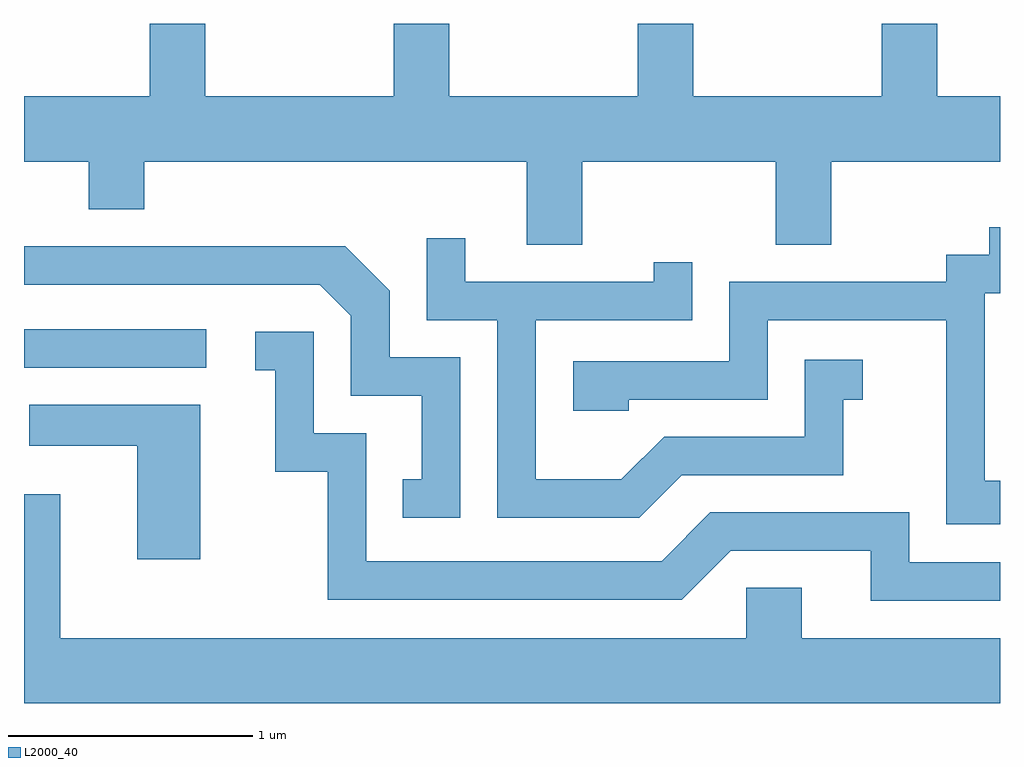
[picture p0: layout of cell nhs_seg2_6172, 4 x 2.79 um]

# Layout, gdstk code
import gdstk
lib = gdstk.Library(unit=1e-6, precision=1e-09)
def R(c, l, rs):  # rectangles x0, y0, x1, y1
    for r in rs: c.add(gdstk.rectangle(r[:2], r[2:], *l))
def P(c, l, *ps):  # polygons
    for p in ps: c.add(gdstk.Polygon(p, *l))
L2000_40 = (2000, 40)

nhs_seg2_6172 = lib.new_cell('nhs_seg2_6172')
R(nhs_seg2_6172, L2000_40, [(367.611,1016.391,368.358,1016.549)])
P(nhs_seg2_6172, L2000_40, [(369.899,1017.236),(370.691,1017.236),(370.691,1016.896),(370.919,1016.896),(370.919,1017.236),(371.611,1017.236),(371.611,1017.504),(371.354,1017.504),(371.354,1017.802),(371.126,1017.802),(371.126,1017.504),(370.354,1017.504),(370.354,1017.802),(370.126,1017.802),(370.126,1017.504),(369.354,1017.504),(369.354,1017.802),(369.126,1017.802),(369.126,1017.504),(368.354,1017.504),(368.354,1017.802),(368.126,1017.802),(368.126,1017.504),(367.611,1017.504),(367.611,1017.236),(367.876,1017.236),(367.876,1017.041),(368.104,1017.041),(368.104,1017.236),(369.671,1017.236),(369.671,1016.896),(369.899,1016.896)],
  [(371.611,1015.929),(371.549,1015.929),(371.549,1016.696),(371.611,1016.696),(371.611,1016.968),(371.566,1016.968),(371.566,1016.854),(371.391,1016.854),(371.391,1016.744),(370.501,1016.744),(370.501,1016.419),(369.861,1016.419),(369.861,1016.216),(370.089,1016.216),(370.089,1016.261),(370.659,1016.261),(370.659,1016.586),(371.391,1016.586),(371.391,1015.751),(371.611,1015.751)],
  [(370.307,1015.951),(370.969,1015.951),(370.969,1016.261),(371.048,1016.261),(371.048,1016.424),(370.811,1016.424),(370.811,1016.109),(370.234,1016.109),(370.059,1015.934),(369.709,1015.934),(369.709,1016.586),(370.349,1016.586),(370.349,1016.823),(370.191,1016.823),(370.191,1016.744),(369.419,1016.744),(369.419,1016.923),(369.261,1016.923),(369.261,1016.586),(369.551,1016.586),(369.551,1015.776),(370.132,1015.776)],
  [(369.399,1016.434),(369.109,1016.434),(369.109,1016.707),(368.927,1016.889),(367.611,1016.889),(367.611,1016.731),(368.824,1016.731),(368.951,1016.604),(368.951,1016.276),(369.241,1016.276),(369.241,1015.934),(369.163,1015.934),(369.163,1015.776),(369.399,1015.776)],
  [(371.611,1015.594),(371.239,1015.594),(371.239,1015.799),(370.424,1015.799),(370.224,1015.599),(369.014,1015.599),(369.014,1016.124),(368.799,1016.124),(368.799,1016.539),(368.558,1016.539),(368.558,1016.381),(368.641,1016.381),(368.641,1015.966),(368.856,1015.966),(368.856,1015.441),(370.307,1015.441),(370.507,1015.641),(371.081,1015.641),(371.081,1015.436),(371.611,1015.436)],
  [(368.334,1016.239),(367.633,1016.239),(367.633,1016.071),(368.076,1016.071),(368.076,1015.606),(368.334,1015.606)],
  [(371.611,1015.284),(370.799,1015.284),(370.799,1015.489),(370.571,1015.489),(370.571,1015.284),(367.759,1015.284),(367.759,1015.874),(367.611,1015.874),(367.611,1015.016),(371.611,1015.016)])

lib.write_gds('nhs_seg2_6172.gds')
